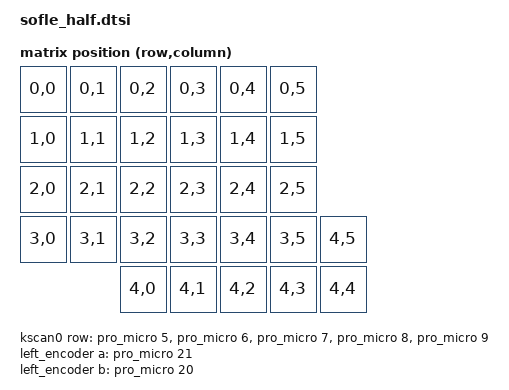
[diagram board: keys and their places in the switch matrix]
/*
 * Copyright (c) 2020 Pete Johanson, Ryan Cross
 *
 * SPDX-License-Identifier: MIT
 */

#include <dt-bindings/zmk/matrix_transform.h>
#include "sofle_half_layout.dtsi"


&sofle_half_layout {
    transform = <&default_transform>;
};

/ {
    chosen {
        zmk,kscan = &kscan0;
    };

    default_transform: keymap_transform_0 {
        compatible = "zmk,matrix-transform";
        columns = <8>;
        rows = <4>;
// | SW6  | SW5  | SW4  | SW3  | SW2  | SW1  |
// | SW12 | SW11 | SW10 | SW9  | SW8  | SW7  |
// | SW18 | SW17 | SW16 | SW15 | SW14 | SW13 |
// | SW24 | SW23 | SW22 | SW21 | SW20 | SW19 | SW25 |
//               | SW30 | SW29 | SW28 | SW27 | SW26 |
        map = <
RC(0,0) RC(0,1) RC(0,2) RC(0,3) RC(0,4) RC(0,5)
RC(1,0) RC(1,1) RC(1,2) RC(1,3) RC(1,4) RC(1,5)
RC(2,0) RC(2,1) RC(2,2) RC(2,3) RC(2,4) RC(2,5)
RC(3,0) RC(3,1) RC(3,2) RC(3,3) RC(3,4) RC(3,5) RC(4,5)
                RC(4,0) RC(4,1) RC(4,2) RC(4,3) RC(4,4)
        >;
    };

    kscan0: kscan {
        compatible = "zmk,kscan-gpio-matrix";
        wakeup-source;

        diode-direction = "col2row";
        row-gpios
            = <&pro_micro 5 (GPIO_ACTIVE_HIGH | GPIO_PULL_DOWN)>
            , <&pro_micro 6 (GPIO_ACTIVE_HIGH | GPIO_PULL_DOWN)>
            , <&pro_micro 7 (GPIO_ACTIVE_HIGH | GPIO_PULL_DOWN)>
            , <&pro_micro 8 (GPIO_ACTIVE_HIGH | GPIO_PULL_DOWN)>
            , <&pro_micro 9 (GPIO_ACTIVE_HIGH | GPIO_PULL_DOWN)>
            ;
    };

    left_encoder: encoder_left {
        compatible = "alps,ec11";
        a-gpios = <&pro_micro 21 (GPIO_ACTIVE_HIGH | GPIO_PULL_UP)>;
        b-gpios = <&pro_micro 20 (GPIO_ACTIVE_HIGH | GPIO_PULL_UP)>;
        steps = <80>;
        status = "disabled";
    };

    sensors: sensors {
        compatible = "zmk,keymap-sensors";
        sensors = <&left_encoder>;
        triggers-per-rotation = <20>;
    };
};
